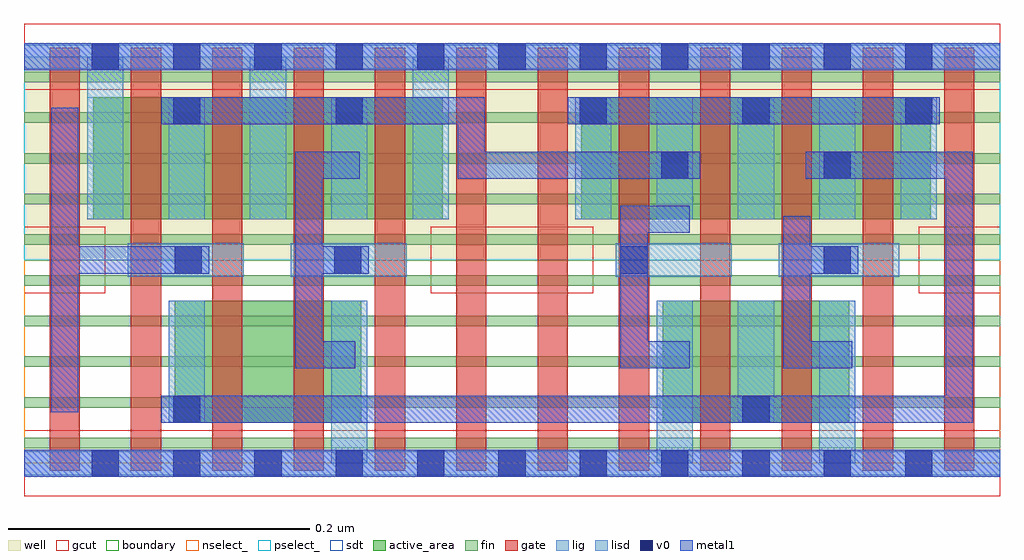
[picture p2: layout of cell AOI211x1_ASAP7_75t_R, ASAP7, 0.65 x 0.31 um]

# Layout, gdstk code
import gdstk
lib = gdstk.Library(unit=1e-6, precision=1e-09)
def R(c, l, rs):  # rectangles x0, y0, x1, y1
    for r in rs: c.add(gdstk.rectangle(r[:2], r[2:], *l))
def A(c, l, x, y, w, h, nx, ny, dx, dy):  # array of equal rectangles
    R(c, l, [(x+i*dx, y+j*dy, x+i*dx+w, y+j*dy+h) for i in range(nx) for j in range(ny)])
def P(c, l, *ps):  # polygons
    for p in ps: c.add(gdstk.Polygon(p, *l))
well = (1, 0)
fin = (2, 0)
gate = (7, 0)
gcut = (10, 0)
active_area = (11, 0)
nselect_ = (12, 0)
pselect_ = (13, 0)
lig = (16, 0)
lisd = (17, 0)
v0 = (18, 0)
metal1 = (19, 0)
sdt = (88, 0)
boundary = (100, 0)

aoi211x1_asap7_75t_r = lib.new_cell('AOI211x1_ASAP7_75t_R')
R(aoi211x1_asap7_75t_r, well, [(0,0.135,0.648,0.27)])
A(aoi211x1_asap7_75t_r, fin, 0, 0.01, 0.648, 0.007, 1, 10, 0, 0.027)
A(aoi211x1_asap7_75t_r, gate, 0.017, -0.005, 0.02, 0.281, 12, 1, 0.054, 0)
R(aoi211x1_asap7_75t_r, gcut, [(0,-0.022,0.648,0.022), (0,0.113,0.054,0.157), (0.27,0.113,0.378,0.157), (0.594,0.113,0.648,0.157), (0,0.248,0.648,0.292)])
R(aoi211x1_asap7_75t_r, active_area, [(0.1,0.027,0.224,0.108), (0.424,0.027,0.548,0.108), (0.046,0.162,0.278,0.243), (0.37,0.162,0.602,0.243)])
R(aoi211x1_asap7_75t_r, nselect_, [(0,0,0.648,0.135)])
R(aoi211x1_asap7_75t_r, pselect_, [(0,0.135,0.648,0.27)])
R(aoi211x1_asap7_75t_r, lig, [(0,-0.008,0.648,0.008), (0.069,0.124,0.146,0.146), (0.177,0.124,0.254,0.146), (0.393,0.124,0.47,0.146), (0.501,0.124,0.581,0.146), (0,0.262,0.648,0.278)])
A(aoi211x1_asap7_75t_r, lisd, 0.042, 0.162, 0.024, 0.108, 3, 1, 0.108, 0)
A(aoi211x1_asap7_75t_r, lisd, 0.366, 0.162, 0.024, 0.081, 5, 1, 0.054, 0)
R(aoi211x1_asap7_75t_r, lisd, [(0.204,0,0.228,0.108), (0.42,0,0.444,0.108), (0.528,0,0.552,0.108), (0.096,0.027,0.12,0.108), (0.474,0.027,0.498,0.108), (0.096,0.162,0.12,0.243), (0.204,0.162,0.228,0.243)])
A(aoi211x1_asap7_75t_r, v0, 0.045, -0.009, 0.018, 0.018, 11, 2, 0.054, 0.27)
A(aoi211x1_asap7_75t_r, v0, 0.369, 0.225, 0.018, 0.018, 3, 1, 0.108, 0)
R(aoi211x1_asap7_75t_r, v0, [(0.099,0.027,0.117,0.045), (0.477,0.027,0.495,0.045), (0.1,0.126,0.118,0.144), (0.206,0.126,0.224,0.144), (0.396,0.126,0.414,0.144), (0.531,0.126,0.549,0.144), (0.423,0.189,0.441,0.207), (0.531,0.189,0.549,0.207), (0.099,0.225,0.117,0.243), (0.207,0.225,0.225,0.243)])
R(aoi211x1_asap7_75t_r, metal1, [(0,-0.009,0.648,0.009), (0.361,0.225,0.608,0.243), (0,0.261,0.648,0.279)])
P(aoi211x1_asap7_75t_r, metal1, [(0.091,0.027),(0.091,0.045),(0.612,0.045),(0.612,0.189),(0.519,0.189),(0.519,0.207),(0.63,0.207),(0.63,0.027)],
  [(0.504,0.063),(0.504,0.164),(0.522,0.164),(0.522,0.144),(0.554,0.144),(0.554,0.126),(0.522,0.126),(0.522,0.081),(0.55,0.081),(0.55,0.063)],
  [(0.288,0.189),(0.288,0.225),(0.091,0.225),(0.091,0.243),(0.306,0.243),(0.306,0.207),(0.449,0.207),(0.449,0.189)],
  [(0.396,0.063),(0.396,0.171),(0.442,0.171),(0.442,0.153),(0.414,0.153),(0.414,0.081),(0.442,0.081),(0.442,0.063)],
  [(0.18,0.063),(0.18,0.207),(0.223,0.207),(0.223,0.189),(0.198,0.189),(0.198,0.144),(0.229,0.144),(0.229,0.126),(0.198,0.126),(0.198,0.081),(0.22,0.081),(0.22,0.063)],
  [(0.018,0.034),(0.018,0.236),(0.036,0.236),(0.036,0.144),(0.123,0.144),(0.123,0.126),(0.036,0.126),(0.036,0.034)])
A(aoi211x1_asap7_75t_r, sdt, 0.42, 0.027, 0.024, 0.081, 3, 1, 0.054, 0)
A(aoi211x1_asap7_75t_r, sdt, 0.042, 0.162, 0.024, 0.081, 5, 1, 0.054, 0)
A(aoi211x1_asap7_75t_r, sdt, 0.366, 0.162, 0.024, 0.081, 5, 1, 0.054, 0)
R(aoi211x1_asap7_75t_r, sdt, [(0.096,0.027,0.12,0.108), (0.204,0.027,0.228,0.108)])
R(aoi211x1_asap7_75t_r, boundary, [(0,0,0.648,0.27)])

lib.write_gds('AOI211x1_ASAP7_75t_R.gds')
